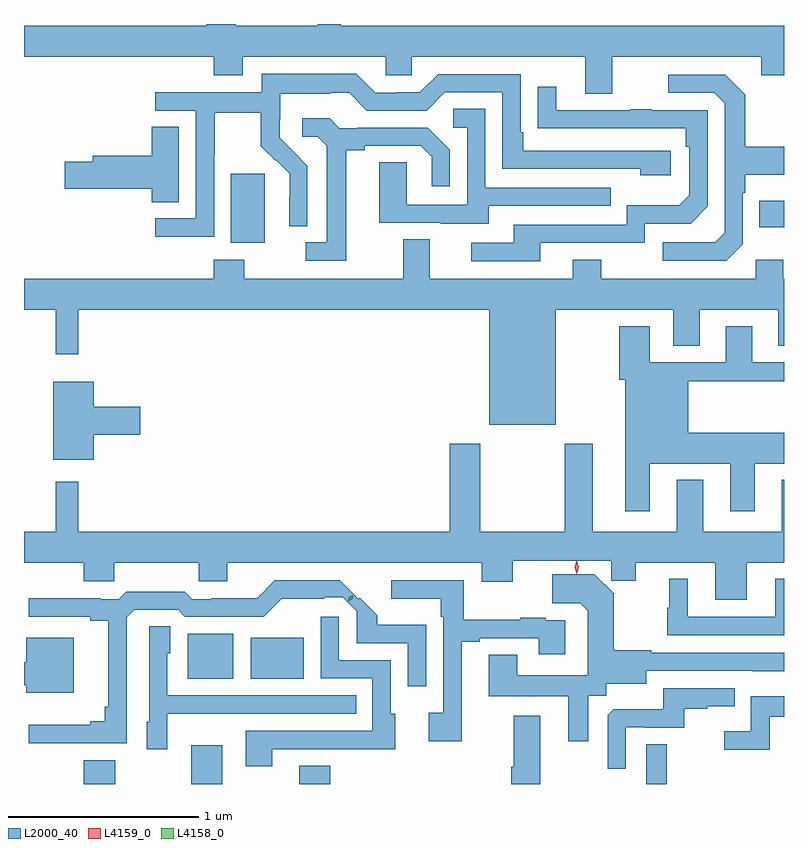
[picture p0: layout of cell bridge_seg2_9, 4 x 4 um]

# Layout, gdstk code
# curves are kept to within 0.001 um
import gdstk
lib = gdstk.Library(unit=1e-6, precision=1e-09)
def R(c, l, rs):  # rectangles x0, y0, x1, y1
    for r in rs: c.add(gdstk.rectangle(r[:2], r[2:], *l))
def P(c, l, *ps):  # polygons
    for p in ps: c.add(gdstk.Polygon(p, *l))
L2000_40 = (2000, 40)
L4158_0 = (4158, 0)
L4159_0 = (4159, 0)

bridge_seg2_9 = lib.new_cell('bridge_seg2_9')
R(bridge_seg2_9, L2000_40, [(747.077,595.856,747.241,595.981), (747.641,595.856,747.805,596.059), (748.211,595.856,748.375,595.951), (750.036,595.856,750.145,596.066), (747.623,596.411,747.862,596.647), (747.956,596.411,748.234,596.626), (747.851,598.706,748.03,599.067), (750.631,598.787,750.762,598.927)])
P(bridge_seg2_9, L2000_40, [(749.857,599.684),(750.641,599.684),(750.641,599.585),(750.762,599.585),(750.762,599.848),(748.43,599.848),(748.43,599.856),(748.307,599.856),(748.307,599.848),(747.877,599.848),(747.877,599.856),(747.725,599.856),(747.725,599.848),(746.762,599.848),(746.762,599.684),(747.761,599.684),(747.761,599.585),(747.913,599.585),(747.913,599.684),(748.665,599.684),(748.665,599.586),(748.803,599.586),(748.803,599.684),(749.717,599.684),(749.717,599.49),(749.857,599.49)],
  [(747.762,599.164),(747.765,599.164),(747.765,599.388),(748.009,599.388),(748.009,599.213),(748.086,599.136),(748.089,599.139),(748.16,599.069),(748.16,598.946),(748.158,598.946),(748.158,598.792),(748.254,598.792),(748.254,599.11),(748.108,599.258),(748.108,599.355),(748.11,599.355),(748.11,599.489),(748.373,599.489),(748.373,599.493),(748.473,599.493),(748.566,599.4),(748.881,599.4),(748.977,599.496),(749.28,599.496),(749.28,599.094),(750.005,599.094),(750.005,599.06),(750.166,599.06),(750.166,599.19),(749.389,599.19),(749.389,599.287),(749.376,599.287),(749.376,599.592),(748.941,599.592),(748.845,599.496),(748.727,599.496),(748.727,599.493),(748.611,599.493),(748.511,599.593),(748.014,599.593),(748.014,599.496),(747.453,599.496),(747.453,599.4),(747.666,599.4),(747.666,598.833),(747.453,598.833),(747.453,598.735),(747.762,598.735)],
  [(750.546,598.698),(750.546,598.967),(750.559,598.967),(750.559,599.063),(750.762,599.063),(750.762,599.211),(750.559,599.211),(750.559,599.483),(750.453,599.589),(750.153,599.589),(750.153,599.493),(750.396,599.493),(750.45,599.439),(750.45,598.758),(750.399,598.707),(750.123,598.707),(750.123,598.611),(750.459,598.611)],
  [(749.479,598.704),(750.03,598.704),(750.03,598.806),(750.27,598.806),(750.36,598.896),(750.36,599.403),(750.065,599.403),(750.065,599.408),(749.953,599.408),(749.953,599.403),(749.563,599.403),(749.563,599.527),(749.467,599.527),(749.467,599.308),(750.244,599.307),(750.244,599.21),(750.264,599.21),(750.264,598.956),(750.211,598.903),(749.934,598.903),(749.934,598.8),(749.339,598.8),(749.339,598.704),(749.115,598.704),(749.115,598.608),(749.479,598.608)],
  [(749.209,598.899),(749.849,598.899),(749.849,598.995),(749.19,598.995),(749.19,599.411),(749.022,599.411),(749.022,599.31),(749.094,599.31),(749.094,598.905),(748.776,598.905),(748.776,599.129),(748.631,599.129),(748.631,598.809),(748.955,598.809),(748.955,598.805),(749.209,598.805)],
  [(748.459,599.192),(748.555,599.192),(748.555,599.214),(748.85,599.214),(748.907,599.157),(748.907,599.001),(749.004,599.001),(749.004,599.194),(748.888,599.31),(748.516,599.31),(748.516,599.307),(748.422,599.307),(748.37,599.359),(748.227,599.359),(748.227,599.262),(748.308,599.262),(748.355,599.215),(748.355,598.707),(748.245,598.707),(748.245,598.611),(748.459,598.611)],
  [(747.577,599.315),(747.434,599.315),(747.434,599.162),(747.125,599.162),(747.125,599.132),(746.976,599.132),(746.976,598.99),(747.434,598.99),(747.434,598.918),(747.577,598.918)],
  [(749.56,598.352),(750.179,598.352),(750.179,598.162),(750.319,598.162),(750.319,598.352),(750.731,598.352),(750.731,598.162),(750.762,598.162),(750.762,598.516),(750.759,598.516),(750.759,598.615),(750.612,598.615),(750.612,598.516),(749.799,598.516),(749.799,598.615),(749.651,598.615),(749.651,598.516),(748.897,598.516),(748.897,598.724),(748.757,598.724),(748.757,598.516),(747.921,598.516),(747.921,598.615),(747.761,598.615),(747.761,598.516),(746.762,598.516),(746.762,598.352),(746.93,598.352),(746.93,598.119),(747.047,598.119),(747.047,598.352),(749.21,598.352),(749.21,597.746),(749.56,597.746)],
  [(750.055,597.542),(750.479,597.542),(750.479,597.291),(750.607,597.291),(750.607,597.542),(750.762,597.542),(750.762,597.706),(750.259,597.706),(750.259,597.976),(750.762,597.976),(750.762,598.077),(750.595,598.077),(750.595,598.264),(750.455,598.264),(750.455,598.077),(750.055,598.077),(750.055,598.264),(749.896,598.264),(749.896,597.984),(749.927,597.984),(749.927,597.291),(750.055,597.291)],
  [(747.13,597.695),(747.373,597.695),(747.373,597.842),(747.13,597.842),(747.13,597.973),(746.915,597.973),(746.915,597.563),(747.13,597.563)],
  [(750.565,597.02),(750.762,597.02),(750.762,597.457),(750.749,597.457),(750.749,597.184),(750.337,597.184),(750.337,597.457),(750.197,597.457),(750.197,597.184),(749.755,597.184),(749.755,597.646),(749.608,597.646),(749.608,597.184),(749.163,597.184),(749.163,597.646),(749.003,597.646),(749.003,597.184),(747.047,597.184),(747.047,597.448),(746.93,597.448),(746.93,597.184),(746.762,597.184),(746.762,597.02),(747.077,597.02),(747.077,596.922),(747.237,596.922),(747.237,597.02),(747.682,597.02),(747.682,596.922),(747.832,596.922),(747.832,597.02),(749.171,597.02),(749.171,596.921),(749.335,596.921),(749.335,597.032),(749.853,597.032),(749.853,596.927),(749.983,596.927),(749.983,597.02),(750.401,597.02),(750.401,596.826),(750.565,596.826)],
  [(749.731,596.32),(749.826,596.32),(749.826,596.384),(750.037,596.384),(750.037,596.451),(750.762,596.45),(750.762,596.547),(750.062,596.547),(750.062,596.56),(749.865,596.56),(749.865,596.859),(749.763,596.961),(749.541,596.961),(749.541,596.807),(749.689,596.807),(749.729,596.767),(749.729,596.428),(749.359,596.428),(749.359,596.537),(749.207,596.537),(749.207,596.318),(749.627,596.318),(749.627,596.082),(749.731,596.082)],
  [(750.762,596.935),(750.716,596.935),(750.716,596.736),(750.256,596.736),(750.256,596.935),(750.158,596.935),(750.158,596.784),(750.147,596.784),(750.147,596.64),(750.762,596.64)],
  [(749.065,596.604),(749.161,596.604),(749.161,596.622),(749.471,596.622),(749.471,596.538),(749.611,596.538),(749.611,596.718),(749.507,596.718),(749.507,596.731),(749.375,596.731),(749.375,596.72),(749.077,596.72),(749.077,596.928),(748.695,596.928),(748.695,596.831),(748.956,596.831),(748.956,596.735),(748.968,596.735),(748.968,596.23),(748.893,596.23),(748.893,596.082),(749.065,596.082)],
  [(747.303,596.733),(747.342,596.772),(747.573,596.772),(747.609,596.736),(748.023,596.736),(748.118,596.831),(748.343,596.831),(748.343,596.838),(748.44,596.838),(748.512,596.766),(748.512,596.598),(748.782,596.598),(748.782,596.37),(748.878,596.37),(748.878,596.695),(748.62,596.695),(748.62,596.743),(748.528,596.836),(748.522,596.83),(748.423,596.928),(748.083,596.928),(747.989,596.834),(747.748,596.834),(747.748,596.829),(747.648,596.829),(747.609,596.869),(747.301,596.869),(747.261,596.829),(747.167,596.829),(747.167,596.834),(746.787,596.834),(746.787,596.736),(747.11,596.736),(747.11,596.714),(747.206,596.714),(747.206,596.263),(747.187,596.263),(747.187,596.186),(747.11,596.186),(747.11,596.167),(746.787,596.167),(746.787,596.07),(747.303,596.07)],
  [(748.069,596.04),(748.499,596.04),(748.499,596.039),(748.717,596.039),(748.717,596.226),(748.692,596.226),(748.692,596.508),(748.419,596.508),(748.419,596.737),(748.323,596.737),(748.323,596.412),(748.596,596.412),(748.596,596.136),(747.929,596.136),(747.929,595.95),(748.069,595.95)],
  [(747.516,596.225),(747.833,596.225),(747.833,596.226),(748.511,596.226),(748.511,596.322),(747.516,596.322),(747.516,596.544),(747.532,596.544),(747.532,596.687),(747.42,596.687),(747.42,596.184),(747.407,596.184),(747.407,596.04),(747.516,596.04)],
  [(747.025,596.626),(746.774,596.626),(746.774,596.497),(746.762,596.497),(746.762,596.375),(746.774,596.375),(746.774,596.336),(747.025,596.336)],
  [(749.928,596.154),(750.028,596.154),(750.028,596.151),(750.236,596.151),(750.236,596.253),(750.359,596.253),(750.359,596.264),(750.503,596.264),(750.503,596.361),(750.126,596.361),(750.126,596.249),(749.867,596.249),(749.835,596.217),(749.835,595.937),(749.928,595.937)],
  [(750.687,596.211),(750.762,596.211),(750.762,596.319),(750.588,596.319),(750.588,596.134),(750.447,596.134),(750.447,596.036),(750.687,596.036)],
  [(749.479,596.215),(749.339,596.215),(749.339,595.948),(749.327,595.948),(749.327,595.856),(749.479,595.856)])
P(bridge_seg2_9, L4158_0, [(748.468,596.818),(748.468,596.819),(748.474,596.841),(748.495,596.85),(748.495,596.85),(748.495,596.85),(748.489,596.828),(748.468,596.818)])
P(bridge_seg2_9, L4159_0, [(749.67,596.963),(749.661,596.996),(749.67,597.03),(749.671,597.03),(749.671,597.03),(749.681,596.996),(749.671,596.963),(749.671,596.963)])

lib.write_gds('bridge_seg2_9.gds')
